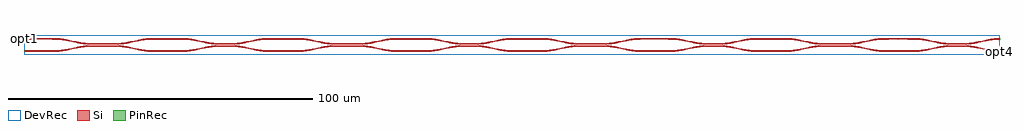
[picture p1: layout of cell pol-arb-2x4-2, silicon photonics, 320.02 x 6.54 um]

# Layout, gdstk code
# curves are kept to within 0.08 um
import gdstk
lib = gdstk.Library(unit=1e-6, precision=1e-09)
def R(c, l, rs):  # rectangles x0, y0, x1, y1
    for r in rs: c.add(gdstk.rectangle(r[:2], r[2:], *l))
def P(c, l, *ps):  # polygons
    for p in ps: c.add(gdstk.Polygon(p, *l))
Si = (1, 0)
PinRec = (1, 10)
DevRec = (68, 0)

layer_0_0_phase_sec_0_3 = lib.new_cell('layer-0_0_phase_sec_0$3')
P(layer_0_0_phase_sec_0_3, Si, [(0,-0.225),(0,0.225),(10,0.225),(10,-0.225)])

layer_0_0_phase_sec_2_3 = lib.new_cell('layer-0_0_phase_sec_2$3')
P(layer_0_0_phase_sec_2_3, Si, [(6.22,-0.245),(0,-0.225),(0,0.225),(10,0.225),(10,-0.225)])

layer_0_0_phase_sec_3_3 = lib.new_cell('layer-0_0_phase_sec_3$3')
P(layer_0_0_phase_sec_3_3, Si, [(0,-0.225),(0,0.225),(10,0.225),(10,-0.225)])

dc_arm_up_4_3 = lib.new_cell('dc_arm_up_4$3')
R(dc_arm_up_4_3, Si, [(12,0.1,16,0.55)])
P(dc_arm_up_4_3, Si, [(16,0.1),(16,0.55),(17.481,0.613),(18.966,0.793),(25.344,2.033),(26.861,2.188),(28,2.225),(28,1.775),(26.519,1.712),(25.034,1.532),(18.656,0.292),(17.139,0.137)],
  [(12,0.1),(10.861,0.137),(9.344,0.292),(2.966,1.532),(1.481,1.712),(0,1.775),(0,2.225),(1.139,2.188),(2.656,2.033),(9.034,0.793),(10.519,0.613),(12,0.55)])

dc_arm_down_4_3 = lib.new_cell('dc_arm_down_4$3')
R(dc_arm_down_4_3, Si, [(12,-0.55,16,-0.1)])
P(dc_arm_down_4_3, Si, [(28,-2.225),(26.861,-2.188),(25.344,-2.033),(18.966,-0.793),(17.481,-0.613),(16,-0.55),(16,-0.1),(17.139,-0.137),(18.656,-0.292),(25.034,-1.532),(26.519,-1.712),(28,-1.775)],
  [(0,-2.225),(0,-1.775),(1.481,-1.712),(2.966,-1.532),(9.344,-0.292),(10.861,-0.137),(12,-0.1),(12,-0.55),(10.519,-0.613),(9.034,-0.793),(2.656,-2.033),(1.139,-2.188)])

dc_4_3 = lib.new_cell('dc_4$3')
dc_4_3.add(gdstk.Reference(dc_arm_up_4_3, (0,0)))
dc_4_3.add(gdstk.Reference(dc_arm_down_4_3, (0,0)))

layer_1_0_phase_sec_0_3 = lib.new_cell('layer-1_0_phase_sec_0$3')
P(layer_1_0_phase_sec_0_3, Si, [(1.553,-0.239),(0,-0.225),(0,0.225),(10,0.225),(10,-0.225)])

layer_2_0_phase_sec_0_3 = lib.new_cell('layer-2_0_phase_sec_0$3')
P(layer_2_0_phase_sec_0_3, Si, [(1.553,-0.23),(0,-0.225),(0,0.225),(10,0.225),(10,-0.225)])

layer_0_0_phase_sec_1_3 = lib.new_cell('layer-0_0_phase_sec_1$3')
P(layer_0_0_phase_sec_1_3, Si, [(0,-0.225),(0,0.225),(10,0.225),(10,-0.225)])

layer_2_0_phase_sec_1_3 = lib.new_cell('layer-2_0_phase_sec_1$3')
P(layer_2_0_phase_sec_1_3, Si, [(0,-0.225),(0,0.225),(10,0.225),(10,-0.225)])

dc_arm_up_8_3 = lib.new_cell('dc_arm_up_8$3')
R(dc_arm_up_8_3, Si, [(12,0.1,20,0.55)])
P(dc_arm_up_8_3, Si, [(20,0.1),(20,0.55),(21.481,0.613),(22.966,0.793),(29.344,2.033),(30.861,2.188),(32,2.225),(32,1.775),(30.519,1.712),(29.034,1.532),(22.656,0.292),(21.139,0.137)],
  [(12,0.1),(10.861,0.137),(9.344,0.292),(2.966,1.532),(1.481,1.712),(0,1.775),(0,2.225),(1.139,2.188),(2.656,2.033),(9.034,0.793),(10.519,0.613),(12,0.55)])

dc_arm_down_8_3 = lib.new_cell('dc_arm_down_8$3')
R(dc_arm_down_8_3, Si, [(12,-0.55,20,-0.1)])
P(dc_arm_down_8_3, Si, [(32,-2.225),(30.861,-2.188),(29.344,-2.033),(22.966,-0.793),(21.481,-0.613),(20,-0.55),(20,-0.1),(21.139,-0.137),(22.656,-0.292),(29.034,-1.532),(30.519,-1.712),(32,-1.775)],
  [(0,-2.225),(0,-1.775),(1.481,-1.712),(2.966,-1.532),(9.344,-0.292),(10.861,-0.137),(12,-0.1),(12,-0.55),(10.519,-0.613),(9.034,-0.793),(2.656,-2.033),(1.139,-2.188)])

dc_8_3 = lib.new_cell('dc_8$3')
dc_8_3.add(gdstk.Reference(dc_arm_up_8_3, (0,0)))
dc_8_3.add(gdstk.Reference(dc_arm_down_8_3, (0,0)))

layer_2_0_phase_sec_2_3 = lib.new_cell('layer-2_0_phase_sec_2$3')
P(layer_2_0_phase_sec_2_3, Si, [(0,-0.225),(0,0.225),(10,0.225),(10,-0.225)])

layer_2_0_phase_sec_3_3 = lib.new_cell('layer-2_0_phase_sec_3$3')
P(layer_2_0_phase_sec_3_3, Si, [(7.8,-0.231),(0,-0.225),(0,0.225),(10,0.225),(10,-0.225)])

layer_1_0_phase_sec_1_3 = lib.new_cell('layer-1_0_phase_sec_1$3')
P(layer_1_0_phase_sec_1_3, Si, [(0,-0.225),(0,0.225),(10,0.225),(10,-0.225)])

layer_3_0_phase_sec_1_3 = lib.new_cell('layer-3_0_phase_sec_1$3')
P(layer_3_0_phase_sec_1_3, Si, [(0,-0.225),(0,0.225),(10,0.225),(10,-0.225)])

layer_1_0_phase_sec_2_3 = lib.new_cell('layer-1_0_phase_sec_2$3')
P(layer_1_0_phase_sec_2_3, Si, [(0,-0.225),(0,0.225),(10,0.225),(10,-0.225)])

layer_3_0_phase_sec_2_3 = lib.new_cell('layer-3_0_phase_sec_2$3')
P(layer_3_0_phase_sec_2_3, Si, [(0,-0.225),(0,0.225),(10,0.225),(10,-0.225)])

layer_3_0_phase_sec_0_3 = lib.new_cell('layer-3_0_phase_sec_0$3')
P(layer_3_0_phase_sec_0_3, Si, [(3.108,-0.258),(0,-0.225),(0,0.225),(10,0.225),(10,-0.225)])

layer_1_0_phase_sec_3_3 = lib.new_cell('layer-1_0_phase_sec_3$3')
P(layer_1_0_phase_sec_3_3, Si, [(4.708,-0.278),(0,-0.225),(0,0.225),(4.708,0.278),(10,0.225),(10,-0.225)])

layer_3_0_phase_sec_3_3 = lib.new_cell('layer-3_0_phase_sec_3$3')
P(layer_3_0_phase_sec_3_3, Si, [(0,-0.225),(0,0.225),(10,0.225),(10,-0.225)])

pol_arb_2x4_2 = lib.new_cell('pol-arb-2x4-2')
R(pol_arb_2x4_2, DevRec, [(0,-1,320,5.536)])
pol_arb_2x4_2.add(gdstk.FlexPath([(319.99,0.278),(320.01,0.278)], 0.45, ends="flush", simple_path=True, layer=1, datatype=10))  # PinRec
pol_arb_2x4_2.add(gdstk.FlexPath([(319.99,4.278),(320.01,4.278)], 0.45, ends="flush", simple_path=True, layer=1, datatype=10))  # PinRec
pol_arb_2x4_2.add(gdstk.FlexPath([(0.01,0.278),(-0.01,0.278)], 0.45, ends="flush", simple_path=True, layer=1, datatype=10))  # PinRec
pol_arb_2x4_2.add(gdstk.FlexPath([(0.01,4.278),(-0.01,4.278)], 0.45, ends="flush", simple_path=True, layer=1, datatype=10))  # PinRec
pol_arb_2x4_2.add(gdstk.Reference(layer_0_0_phase_sec_0_3, (0,4.278)))
pol_arb_2x4_2.add(gdstk.Reference(layer_0_0_phase_sec_2_3, (42,4.278)))
pol_arb_2x4_2.add(gdstk.Reference(layer_0_0_phase_sec_3_3, (42,0.278)))
pol_arb_2x4_2.add(gdstk.Reference(dc_4_3, (52,2.278)))
pol_arb_2x4_2.add(gdstk.Reference(dc_4_3, (132,2.278)))
pol_arb_2x4_2.add(gdstk.Reference(dc_4_3, (212,2.278)))
pol_arb_2x4_2.add(gdstk.Reference(dc_4_3, (292,2.278)))
pol_arb_2x4_2.add(gdstk.Reference(layer_1_0_phase_sec_0_3, (80,4.278)))
pol_arb_2x4_2.add(gdstk.Reference(layer_2_0_phase_sec_0_3, (160,4.278)))
pol_arb_2x4_2.add(gdstk.Reference(layer_0_0_phase_sec_1_3, (0,0.278)))
pol_arb_2x4_2.add(gdstk.Reference(layer_2_0_phase_sec_1_3, (160,0.278)))
pol_arb_2x4_2.add(gdstk.Reference(dc_8_3, (10,2.278)))
pol_arb_2x4_2.add(gdstk.Reference(dc_8_3, (90,2.278)))
pol_arb_2x4_2.add(gdstk.Reference(dc_8_3, (170,2.278)))
pol_arb_2x4_2.add(gdstk.Reference(dc_8_3, (250,2.278)))
pol_arb_2x4_2.add(gdstk.Reference(layer_2_0_phase_sec_2_3, (202,4.278)))
pol_arb_2x4_2.add(gdstk.Reference(layer_2_0_phase_sec_3_3, (202,0.278)))
pol_arb_2x4_2.add(gdstk.Reference(layer_1_0_phase_sec_1_3, (80,0.278)))
pol_arb_2x4_2.add(gdstk.Reference(layer_3_0_phase_sec_1_3, (240,0.278)))
pol_arb_2x4_2.add(gdstk.Reference(layer_1_0_phase_sec_2_3, (122,4.278)))
pol_arb_2x4_2.add(gdstk.Reference(layer_3_0_phase_sec_2_3, (282,4.278)))
pol_arb_2x4_2.add(gdstk.Reference(layer_3_0_phase_sec_0_3, (240,4.278)))
pol_arb_2x4_2.add(gdstk.Reference(layer_1_0_phase_sec_3_3, (122,0.278)))
pol_arb_2x4_2.add(gdstk.Reference(layer_3_0_phase_sec_3_3, (282,0.278)))
pol_arb_2x4_2.add(gdstk.Label('opt4', (320,0.278), layer=1, texttype=10))
pol_arb_2x4_2.add(gdstk.Label('opt3', (320,4.278), layer=1, texttype=10))
pol_arb_2x4_2.add(gdstk.Label('opt1', (0,4.278), layer=1, texttype=10))
pol_arb_2x4_2.add(gdstk.Label('opt2', (0,0.28), layer=1, texttype=10))

lib.write_gds('pol-arb-2x4-2.gds')
